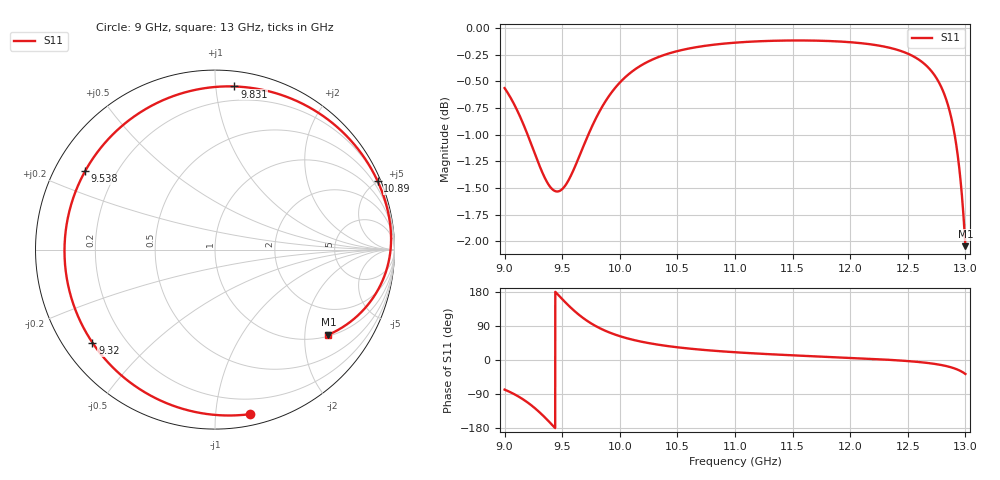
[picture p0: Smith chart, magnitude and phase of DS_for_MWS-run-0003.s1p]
! TOUCHSTONE file generated by CST DESIGN STUDIO
! Date and time: Tue Feb  4 18:13:21 2025
! Project name: C:\Work\MatlabApps\UnitCellOptimizationMatlab\CST\unitcell.cst
! Tree item: Tasks\Sweep1\SPara1\S-Parameters
! Header version: 2024
! Port assignment regex: !\s*Touchstone port\s*([0-9]+)\s*=\s*(CST MWS port|CST DES external port|CST DES block port)\s*(.+)\s* \(\"(.*)\"\)(\s*mode\s*([0-9]+))?.*
! Touchstone port assignment:
! Touchstone port 1 = CST DES external port 1 ("")
# GHz S MA R 50
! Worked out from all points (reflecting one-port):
!   4001 points, 9 GHz to 13 GHz, reference 50 ohm
!   lowest |S11| = -2.0 dB at 13 GHz (marker M1), VSWR 8.53, Z = 52.1 - j132 ohm
!   phase of S11 starts at -78 deg and turns -319 deg over the sweep
!   S11 on the Smith chart (normalised r, x): 9 GHz: 0.08, -1.23; 9.32 GHz: 0.09, -0.33; 9.538 GHz: 0.09, +0.28; 9.831 GHz: 0.10, +1.12; 10.89 GHz: 0.22, +4.95; 13 GHz: 1.04, -2.63
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9  0.9372 -78.1
9.099  0.9173 -92.7
9.179  0.897 -107.7
9.251  0.8765 -124.1
9.32  0.8575 -142.8
9.369  0.8467 -157.4
9.413  0.8404 -171.4
9.456  0.8382 174.7
9.5  0.8404 160.6
9.538  0.8454 148.9
9.605  0.8596 129.7
9.673  0.8772 112.7
9.746  0.8961 97.5
9.831  0.9154 83.2
9.913  0.9304 72.2
10  0.9428 62.9
10.102  0.9537 54.2
10.216  0.9625 46.6
10.5  0.9754 33.5
10.886  0.9831 22.8
11  0.9843 20.5
11.5  0.9866 12.4
12  0.9848 5.6
12.5  0.9727 -2.8
12.69  0.9566 -8.5
12.834  0.9255 -16.0
12.923  0.8799 -24.2
13  0.7902 -36.9
